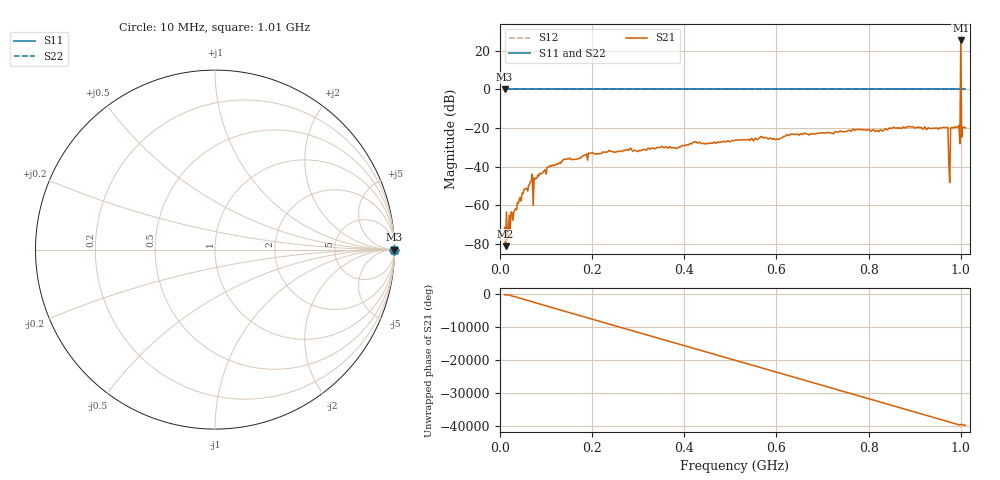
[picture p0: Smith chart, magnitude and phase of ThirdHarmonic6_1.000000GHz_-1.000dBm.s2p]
! 8/16/2025 8:04:05 AM
! C:\ANRITSUVNA\TEMP\TEMP.S2P
! CHANNEL.1
! TR.MEASUREMENT
! RAW.DATA
! RF.CORRECTION.OFF
! AVERAGING.OFF
! IF.BANDWIDTH: 5KHZ
! SWEEPTYPE:  FREQ.SWEEP(Linear)
! Reference Plane Port Info
! PORT:  PORT1  PORT2
! DISTANCE:  0  m  0  m
! TIME:  0  s  0  s
! PHASE.OFFSET:  0  deg.  0  deg.
! LOSS:  0  dB  0  dB
! REF.LOSS:  0  dB  0  dB
! REF.FREQ:  0  Hz  0  Hz
! Power Info
! POWER:  -20  dBm  -20  dBm
! EFF.POWER:  -20  dBm  -20  dBm
! SOURCE.ATTEN:  0  dB  0  dB
! TEST.ATTEN:  0  dB  0  dB
# GHZ S RI R 50.0
! FREQ.GHZ  S11RE  S11IM  S21RE  S21IM  S12RE  S12IM  S22RE  S22IM
!; PortSelection: Port_12
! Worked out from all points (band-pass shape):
!   501 points, 10 MHz to 1.01 GHz, reference 50 ohm
!   highest |S21| = 25.34 dB at 1 GHz (marker M1); lowest = -81.1 dB at 12 MHz (marker M2)
!   |S21| within 3 dB of the highest: 999.8877 MHz to 1.00012 GHz (232.3 kHz wide, 0.0232 % of centre)
!   lowest |S11| = 0.0 dB at 10 MHz (marker M3)
!   |S11| at or under -10 dB: nowhere
!   |S22| runs from 0.0 to 0.0 dB; largest |S21 - S12| = 18
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0.01  1 0  -0.000229 -0.000141  1 0  1 0
0.012  1 0  2.5e-05 -8.49e-05  1 0  1 0
0.066  1 0  0.0023 0.0034  1 0  1 0
0.076  1 0  0.00474 4e-06  1 0  1 0
0.078  1 0  0.0013 -0.00496  1 0  1 0
0.106  1 0  -0.00793 -0.00614  1 0  1 0
0.178  1 0  -0.0185 -0.00265  1 0  1 0
0.344  1 0  0.0294 -0.0111  1 0  1 0
0.51  1 0  -0.0419 0.0242  1 0  1 0
0.678  1 0  -0.0495 -0.0502  1 0  1 0
0.844  1 0  0.0948 0.0253  1 0  1 0
0.968  1 0  0.0761 0.0729  1 0  1 0
0.972  1 0  -0.0444 -0.0954  1 0  1 0
0.974  1 0  -0.0119 -0.00133  1 0  1 0
0.978  1 0  0.1009 0.0069  1 0  1 0
0.982  1 0  -0.0983 -0.0334  1 0  1 0
0.994  1 0  0.0195 0.1082  1 0  1 0
0.996  1 0  0.1172 -0.00391  1 0  1 0
1  1 0  3.207 18.22  1 0  1 0
1.004  1 0  0.0962 0.0425  1 0  1 0
1.006  1 0  0.0592 -0.0889  1 0  1 0
1.01  1 0  -0.0881 0.0513  1 0  1 0
